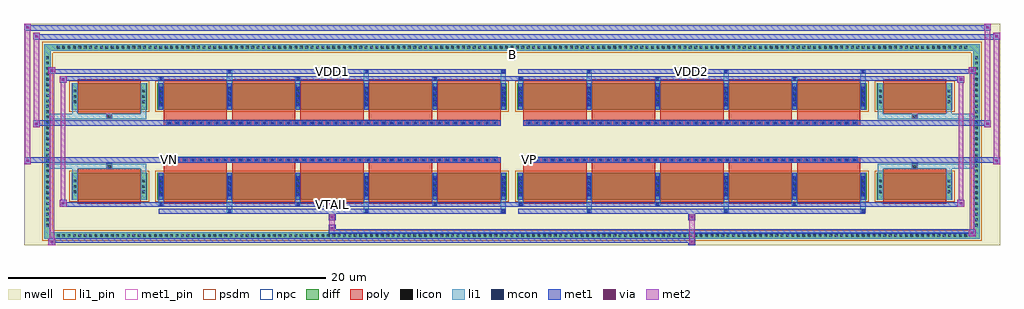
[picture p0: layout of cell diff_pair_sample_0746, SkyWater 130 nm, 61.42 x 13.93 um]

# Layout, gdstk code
import gdstk
lib = gdstk.Library(unit=1e-6, precision=5e-09)
def R(c, l, rs):  # rectangles x0, y0, x1, y1
    for r in rs: c.add(gdstk.rectangle(r[:2], r[2:], *l))
def A(c, l, x, y, w, h, nx, ny, dx, dy):  # array of equal rectangles
    R(c, l, [(x+i*dx, y+j*dy, x+i*dx+w, y+j*dy+h) for i in range(nx) for j in range(ny)])
def P(c, l, *ps):  # polygons
    for p in ps: c.add(gdstk.Polygon(p, *l))
nwell = (64, 20)
diff = (65, 20)
poly = (66, 20)
licon = (66, 44)
li1_pin = (67, 16)
li1 = (67, 20)
mcon = (67, 44)
met1_pin = (68, 16)
met1 = (68, 20)
via = (68, 44)
met2 = (69, 20)
psdm = (94, 20)
npc = (95, 20)

diff_pair_sample_0746 = lib.new_cell('diff_pair_sample_0746')
R(diff_pair_sample_0746, nwell, [(-30.71,-6.53,30.71,7.4), (-28.03,-4.72,-0.01,-0.8), (0.01,-4.72,28.03,-0.8), (-28.03,0.8,-0.01,4.72), (0.01,0.8,28.03,4.72)])
A(diff_pair_sample_0746, diff, -28.765, -6.13, 0.41, 0.41, 169, 2, 0.34, 11.85)
A(diff_pair_sample_0746, diff, -29.44, -5.475, 0.41, 0.41, 1, 32, 0, 0.34)
A(diff_pair_sample_0746, diff, 29.03, -5.475, 0.41, 0.41, 1, 32, 0, 0.34)
R(diff_pair_sample_0746, diff, [(-28.765,-6.13,28.765,-5.72), (-29.44,-5.475,-29.03,5.475), (29.03,-5.475,29.44,5.475), (-27.72,-3.675,-22.96,-1.985), (-22.32,-3.675,-0.32,-1.985), (0.32,-3.675,22.32,-1.985), (22.96,-3.675,27.72,-1.985), (-27.72,1.985,-22.96,3.675), (-22.32,1.985,-0.32,3.675), (0.32,1.985,22.32,3.675), (22.96,1.985,27.72,3.675), (-28.765,5.72,28.765,6.13)])
P(diff_pair_sample_0746, diff, [(29.44,6.13),(-29.44,6.13),(-29.44,-5.72),(-29.03,-5.72),(-29.03,5.72),(29.03,5.72),(29.03,-5.72),(-29.03,-5.72),(-29.44,-5.72),(-29.44,-6.13),(29.44,-6.13)])
A(diff_pair_sample_0746, poly, -21.93, -3.925, 3.98, 2.19, 5, 2, 4.31, 5.66)
A(diff_pair_sample_0746, poly, 0.71, -3.925, 3.98, 2.19, 5, 2, 4.31, 5.66)
A(diff_pair_sample_0746, poly, -21.93, -1.735, 3.98, 0.405, 5, 2, 4.31, 3.065)
A(diff_pair_sample_0746, poly, 0.71, -1.735, 3.98, 0.405, 5, 2, 4.31, 3.065)
A(diff_pair_sample_0746, poly, -21.735, -1.33, 0.33, 0.33, 42, 2, 0.5, 2.33)
A(diff_pair_sample_0746, poly, 0.905, -1.33, 0.33, 0.33, 42, 2, 0.5, 2.33)
R(diff_pair_sample_0746, poly, [(-27.33,-3.925,-23.35,-1.735), (23.35,-3.925,27.33,-1.735), (-25.505,-1.735,-25.175,-1.405), (-25.505,-1.735,-25.175,-1.405), (25.175,-1.735,25.505,-1.405), (25.175,-1.735,25.505,-1.405), (-21.93,-1.33,-0.71,-1), (0.71,-1.33,21.93,-1), (-21.93,1,-0.71,1.33), (0.71,1,21.93,1.33), (-25.505,1.405,-25.175,1.735), (-25.505,1.405,-25.175,1.735), (25.175,1.405,25.505,1.735), (25.175,1.405,25.505,1.735), (-27.33,1.735,-23.35,3.925), (23.35,1.735,27.33,3.925)])
A(diff_pair_sample_0746, licon, -28.645, -6.01, 0.17, 0.17, 169, 2, 0.34, 11.85)
A(diff_pair_sample_0746, licon, -29.32, -5.355, 0.17, 0.17, 1, 32, 0, 0.34)
A(diff_pair_sample_0746, licon, 29.15, -5.355, 0.17, 0.17, 1, 32, 0, 0.34)
A(diff_pair_sample_0746, licon, -27.58, -3.255, 0.17, 0.17, 1, 3, 0, 0.34)
A(diff_pair_sample_0746, licon, -23.27, -3.255, 0.17, 0.17, 1, 3, 0, 0.34)
A(diff_pair_sample_0746, licon, -22.18, -3.255, 0.17, 0.17, 6, 3, 4.31, 0.34)
A(diff_pair_sample_0746, licon, 0.46, -3.255, 0.17, 0.17, 6, 3, 4.31, 0.34)
A(diff_pair_sample_0746, licon, 23.1, -3.255, 0.17, 0.17, 1, 3, 0, 0.34)
A(diff_pair_sample_0746, licon, 27.41, -3.255, 0.17, 0.17, 1, 3, 0, 0.34)
A(diff_pair_sample_0746, licon, -21.655, -1.25, 0.17, 0.17, 42, 2, 0.5, 2.33)
A(diff_pair_sample_0746, licon, 0.985, -1.25, 0.17, 0.17, 42, 2, 0.5, 2.33)
A(diff_pair_sample_0746, licon, -27.58, 2.405, 0.17, 0.17, 1, 3, 0, 0.34)
A(diff_pair_sample_0746, licon, -23.27, 2.405, 0.17, 0.17, 1, 3, 0, 0.34)
A(diff_pair_sample_0746, licon, -22.18, 2.405, 0.17, 0.17, 6, 3, 4.31, 0.34)
A(diff_pair_sample_0746, licon, 0.46, 2.405, 0.17, 0.17, 6, 3, 4.31, 0.34)
A(diff_pair_sample_0746, licon, 23.1, 2.405, 0.17, 0.17, 1, 3, 0, 0.34)
A(diff_pair_sample_0746, licon, 27.41, 2.405, 0.17, 0.17, 1, 3, 0, 0.34)
R(diff_pair_sample_0746, licon, [(-25.425,-1.655,-25.255,-1.485), (25.255,-1.655,25.425,-1.485), (-25.425,1.485,-25.255,1.655), (25.255,1.485,25.425,1.655)])
R(diff_pair_sample_0746, li1_pin, [(-0.25,5.22,0.25,5.72)])
A(diff_pair_sample_0746, li1, -28.725, -6.09, 0.33, 0.33, 169, 2, 0.34, 11.85)
A(diff_pair_sample_0746, li1, -29.4, -5.435, 0.33, 0.33, 1, 32, 0, 0.34)
A(diff_pair_sample_0746, li1, 29.07, -5.435, 0.33, 0.33, 1, 32, 0, 0.34)
A(diff_pair_sample_0746, li1, -17.95, -4.48, 0.33, 0.805, 3, 2, 8.62, 8.155)
A(diff_pair_sample_0746, li1, -17.87, -4.48, 0.17, 0.17, 3, 2, 8.62, 8.79)
A(diff_pair_sample_0746, li1, 4.69, -4.48, 0.33, 0.805, 3, 2, 8.62, 8.155)
A(diff_pair_sample_0746, li1, 4.77, -4.48, 0.17, 0.17, 3, 2, 8.62, 8.79)
A(diff_pair_sample_0746, li1, -22.26, -4.05, 0.33, 0.375, 3, 2, 8.62, 7.725)
A(diff_pair_sample_0746, li1, -22.18, -4.05, 0.17, 0.17, 3, 2, 8.62, 7.93)
A(diff_pair_sample_0746, li1, 0.38, -4.05, 0.33, 0.375, 3, 2, 8.62, 7.725)
A(diff_pair_sample_0746, li1, 0.46, -4.05, 0.17, 0.17, 3, 2, 8.62, 7.93)
A(diff_pair_sample_0746, li1, -22.26, -3.675, 0.33, 1.69, 6, 2, 4.31, 5.66)
A(diff_pair_sample_0746, li1, 0.38, -3.675, 0.33, 1.69, 6, 2, 4.31, 5.66)
A(diff_pair_sample_0746, li1, -22.18, -3.455, 0.17, 0.17, 6, 4, 4.31, 0.36)
A(diff_pair_sample_0746, li1, -22.18, -3.455, 0.17, 1.25, 6, 2, 4.31, 5.66)
A(diff_pair_sample_0746, li1, 0.46, -3.455, 0.17, 0.17, 6, 4, 4.31, 0.36)
A(diff_pair_sample_0746, li1, 0.46, -3.455, 0.17, 1.25, 6, 2, 4.31, 5.66)
A(diff_pair_sample_0746, li1, -27.66, -3.335, 0.33, 0.33, 1, 3, 0, 0.34)
A(diff_pair_sample_0746, li1, -23.35, -3.335, 0.33, 0.33, 1, 3, 0, 0.34)
A(diff_pair_sample_0746, li1, -22.26, -3.335, 0.33, 0.33, 6, 3, 4.31, 0.34)
A(diff_pair_sample_0746, li1, 0.38, -3.335, 0.33, 0.33, 6, 3, 4.31, 0.34)
A(diff_pair_sample_0746, li1, 23.02, -3.335, 0.33, 0.33, 1, 3, 0, 0.34)
A(diff_pair_sample_0746, li1, 27.33, -3.335, 0.33, 0.33, 1, 3, 0, 0.34)
A(diff_pair_sample_0746, li1, -21.735, -1.33, 0.33, 0.33, 42, 2, 0.5, 2.33)
A(diff_pair_sample_0746, li1, 0.905, -1.33, 0.33, 0.33, 42, 2, 0.5, 2.33)
A(diff_pair_sample_0746, li1, -22.18, 2.205, 0.17, 0.17, 6, 4, 4.31, 0.36)
A(diff_pair_sample_0746, li1, 0.46, 2.205, 0.17, 0.17, 6, 4, 4.31, 0.36)
A(diff_pair_sample_0746, li1, -27.66, 2.325, 0.33, 0.33, 1, 3, 0, 0.34)
A(diff_pair_sample_0746, li1, -23.35, 2.325, 0.33, 0.33, 1, 3, 0, 0.34)
A(diff_pair_sample_0746, li1, -22.26, 2.325, 0.33, 0.33, 6, 3, 4.31, 0.34)
A(diff_pair_sample_0746, li1, 0.38, 2.325, 0.33, 0.33, 6, 3, 4.31, 0.34)
A(diff_pair_sample_0746, li1, 23.02, 2.325, 0.33, 0.33, 1, 3, 0, 0.34)
A(diff_pair_sample_0746, li1, 27.33, 2.325, 0.33, 0.33, 1, 3, 0, 0.34)
R(diff_pair_sample_0746, li1, [(-29.44,-6.13,-29.03,-5.72), (-29.44,-6.13,-29.03,-5.72), (-29.03,-6.13,29.03,-5.72), (29.03,-6.13,29.44,-5.72), (29.03,-6.13,29.44,-5.72), (-29.44,-5.72,-29.03,5.72), (29.03,-5.72,29.44,5.72), (-27.66,-3.675,-27.33,-1.985), (-23.35,-3.675,-23.02,-1.985), (23.02,-3.675,23.35,-1.985), (27.33,-3.675,27.66,-1.985), (-27.66,-1.985,-27.33,-1.405), (-23.35,-1.985,-23.02,-1.405), (23.02,-1.985,23.35,-1.405), (27.33,-1.985,27.66,-1.405), (-29.44,-1.735,-25.505,-1.405), (-27.66,-1.735,-25.505,-1.405), (-25.505,-1.735,-25.175,-1.405), (-25.175,-1.735,-23.02,-1.405), (23.02,-1.735,25.175,-1.405), (25.175,-1.735,25.505,-1.405), (25.175,-1.735,29.44,-1.405), (25.505,-1.735,27.66,-1.405), (-29.44,1.405,-25.505,1.735), (-27.66,1.405,-25.505,1.735), (-27.66,1.405,-27.33,1.985), (-25.505,1.405,-25.175,1.735), (-25.175,1.405,-23.02,1.735), (-23.35,1.405,-23.02,1.985), (23.02,1.405,25.175,1.735), (23.02,1.405,23.35,1.985), (25.175,1.405,25.505,1.735), (25.175,1.405,29.44,1.735), (25.505,1.405,27.66,1.735), (27.33,1.405,27.66,1.985), (-27.66,1.985,-27.33,3.675), (-23.35,1.985,-23.02,3.675), (23.02,1.985,23.35,3.675), (27.33,1.985,27.66,3.675), (-29.44,5.72,-29.03,6.13), (-29.44,5.72,-29.03,6.13), (-29.03,5.72,29.03,6.13), (29.03,5.72,29.44,6.13), (29.03,5.72,29.44,6.13)])
A(diff_pair_sample_0746, mcon, -17.87, -4.48, 0.17, 0.17, 3, 2, 8.62, 8.79)
A(diff_pair_sample_0746, mcon, 4.77, -4.48, 0.17, 0.17, 3, 2, 8.62, 8.79)
A(diff_pair_sample_0746, mcon, -22.18, -4.05, 0.17, 0.17, 3, 2, 8.62, 7.93)
A(diff_pair_sample_0746, mcon, 0.46, -4.05, 0.17, 0.17, 3, 2, 8.62, 7.93)
A(diff_pair_sample_0746, mcon, -22.18, -3.455, 0.17, 0.17, 6, 4, 4.31, 0.36)
A(diff_pair_sample_0746, mcon, 0.46, -3.455, 0.17, 0.17, 6, 4, 4.31, 0.36)
A(diff_pair_sample_0746, mcon, -21.655, -1.25, 0.17, 0.17, 42, 2, 0.5, 2.33)
A(diff_pair_sample_0746, mcon, 0.985, -1.25, 0.17, 0.17, 42, 2, 0.5, 2.33)
A(diff_pair_sample_0746, mcon, -22.18, 2.205, 0.17, 0.17, 6, 4, 4.31, 0.36)
A(diff_pair_sample_0746, mcon, 0.46, 2.205, 0.17, 0.17, 6, 4, 4.31, 0.36)
R(diff_pair_sample_0746, met1_pin, [(-11.455,-4.09,-11.185,-3.82), (-21.705,-1.29,-21.435,-1.02), (0.935,-1.29,1.205,-1.02), (-11.455,4.27,-11.185,4.54), (11.185,4.27,11.455,4.54)])
A(diff_pair_sample_0746, met1, -17.93, -4.54, 0.29, 0.29, 3, 2, 8.62, 8.79)
A(diff_pair_sample_0746, met1, 4.71, -4.54, 0.29, 0.29, 3, 2, 8.62, 8.79)
A(diff_pair_sample_0746, met1, -22.24, -4.11, 0.29, 0.29, 3, 2, 8.62, 7.93)
A(diff_pair_sample_0746, met1, 0.4, -4.11, 0.29, 0.29, 3, 2, 8.62, 7.93)
A(diff_pair_sample_0746, met1, -22.24, -3.675, 0.29, 1.69, 6, 2, 4.31, 5.66)
A(diff_pair_sample_0746, met1, 0.4, -3.675, 0.29, 1.69, 6, 2, 4.31, 5.66)
A(diff_pair_sample_0746, met1, -22.24, -3.515, 0.29, 0.29, 6, 4, 4.31, 0.36)
A(diff_pair_sample_0746, met1, 0.4, -3.515, 0.29, 0.29, 6, 4, 4.31, 0.36)
A(diff_pair_sample_0746, met1, -21.715, -1.31, 0.29, 0.29, 42, 2, 0.5, 2.33)
A(diff_pair_sample_0746, met1, 0.925, -1.31, 0.29, 0.29, 42, 2, 0.5, 2.33)
A(diff_pair_sample_0746, met1, -22.24, 2.145, 0.29, 0.29, 6, 4, 4.31, 0.36)
A(diff_pair_sample_0746, met1, 0.4, 2.145, 0.29, 0.29, 6, 4, 4.31, 0.36)
R(diff_pair_sample_0746, met1, [(-29.17,-6.53,-28.74,-6.1), (11.105,-6.53,11.535,-6.1), (-29.17,-6.39,11.535,-6.1), (28.74,-5.96,29.17,-5.53), (-11.535,-5.82,29.17,-5.53), (-11.535,-5.68,-11.105,-5.25), (-11.535,-4.97,-11.105,-4.54), (11.105,-4.97,11.535,-4.54), (-22.24,-4.54,-0.4,-4.25), (0.4,-4.54,22.24,-4.25), (-28.46,-4.11,-28.03,-3.68), (-28.46,-4.11,-22.24,-3.82), (-22.24,-4.11,-0.4,-3.82), (-0.4,-4.11,0.4,-3.82), (0.4,-4.11,22.24,-3.82), (22.24,-4.11,28.46,-3.82), (28.03,-4.11,28.46,-3.68), (-30.71,-1.43,-30.28,-1), (30.28,-1.43,30.71,-1), (-30.71,-1.33,-0.71,-1), (-21.93,-1.33,-0.71,-1), (0.71,-1.33,21.93,-1), (0.71,-1.33,30.71,-1), (-30.14,0.9,-29.71,1.33), (29.71,0.9,30.14,1.33), (-30.14,1,-21.93,1.33), (-21.93,1,-0.71,1.33), (0.71,1,21.93,1.33), (21.93,1,30.14,1.33), (-28.46,3.68,-28.03,4.11), (28.03,3.68,28.46,4.11), (-28.46,3.82,-22.24,4.11), (-22.24,3.82,-0.4,4.11), (-0.4,3.82,0.4,4.11), (0.4,3.82,22.24,4.11), (22.24,3.82,28.46,4.11), (-29.17,4.25,-28.74,4.68), (-29.17,4.25,-22.24,4.54), (-22.24,4.25,-0.4,4.54), (0.4,4.25,22.24,4.54), (22.24,4.25,29.17,4.54), (28.74,4.25,29.17,4.68), (-30.14,6.4,-29.71,6.83), (-30.14,6.4,-28.03,6.73), (-28.03,6.4,28.03,6.73), (28.03,6.4,30.71,6.73), (30.28,6.4,30.71,6.83), (-30.71,6.97,-30.28,7.4), (-30.71,6.97,-28.03,7.3), (-28.03,6.97,28.03,7.3), (28.03,6.97,30.14,7.3), (29.71,6.97,30.14,7.4)])
R(diff_pair_sample_0746, via, [(-29.03,-6.39,-28.88,-6.24), (11.245,-6.39,11.395,-6.24), (28.88,-5.82,29.03,-5.67), (-11.395,-5.54,-11.245,-5.39), (-11.395,-4.83,-11.245,-4.68), (11.245,-4.83,11.395,-4.68), (-28.32,-3.97,-28.17,-3.82), (28.17,-3.97,28.32,-3.82), (-30.57,-1.29,-30.42,-1.14), (30.42,-1.29,30.57,-1.14), (-30,1.04,-29.85,1.19), (29.85,1.04,30,1.19), (-28.32,3.82,-28.17,3.97), (28.17,3.82,28.32,3.97), (-29.03,4.39,-28.88,4.54), (28.88,4.39,29.03,4.54), (-30,6.54,-29.85,6.69), (30.42,6.54,30.57,6.69), (-30.57,7.11,-30.42,7.26), (29.85,7.11,30,7.26)])
R(diff_pair_sample_0746, met2, [(-29.17,-6.53,-28.74,-6.1), (-29.1,-6.53,-28.81,4.68), (-28.81,-6.53,-28.74,-6.1), (-29.12,-6.48,-28.79,-6.15), (11.155,-6.48,11.485,-6.15), (11.155,-6.15,11.485,-4.92), (28.74,-5.96,29.17,-5.53), (28.81,-5.96,29.1,4.68), (29.1,-5.96,29.17,-5.53), (28.79,-5.91,29.12,-5.58), (-11.485,-5.63,-11.155,-5.3), (-11.485,-5.3,-11.155,-4.92), (-11.485,-4.92,-11.155,-4.59), (11.155,-4.92,11.485,-4.59), (-28.46,-4.11,-28.03,-3.68), (-28.39,-4.11,-28.1,4.11), (-28.1,-4.11,-28.03,-3.68), (28.03,-4.11,28.46,-3.68), (28.1,-4.11,28.39,4.11), (28.39,-4.11,28.46,-3.68), (-28.41,-4.06,-28.08,-3.73), (28.08,-4.06,28.41,-3.73), (-30.71,-1.43,-30.28,-1), (-30.66,-1.43,-30.33,7.4), (-30.33,-1.43,-30.28,-1), (30.28,-1.43,30.71,-1), (30.33,-1.43,30.66,6.83), (30.66,-1.43,30.71,-1), (-30.66,-1.38,-30.33,-1.05), (30.33,-1.38,30.66,-1.05), (-30.14,0.9,-29.71,1.33), (-30.09,0.9,-29.76,6.83), (-29.76,0.9,-29.71,1.33), (29.71,0.9,30.14,1.33), (29.76,0.9,30.09,7.4), (30.09,0.9,30.14,1.33), (-30.09,0.95,-29.76,1.28), (29.76,0.95,30.09,1.28), (-28.46,3.68,-28.03,4.11), (-28.1,3.68,-28.03,4.11), (28.03,3.68,28.46,4.11), (28.39,3.68,28.46,4.11), (-28.41,3.73,-28.08,4.06), (28.08,3.73,28.41,4.06), (-29.17,4.25,-28.74,4.68), (-28.81,4.25,-28.74,4.68), (28.74,4.25,29.17,4.68), (29.1,4.25,29.17,4.68), (-29.12,4.3,-28.79,4.63), (28.79,4.3,29.12,4.63), (-30.14,6.4,-29.71,6.83), (-29.76,6.4,-29.71,6.83), (30.28,6.4,30.71,6.83), (30.66,6.4,30.71,6.83), (-30.09,6.45,-29.76,6.78), (30.33,6.45,30.66,6.78), (-30.71,6.97,-30.28,7.4), (-30.33,6.97,-30.28,7.4), (29.71,6.97,30.14,7.4), (30.09,6.97,30.14,7.4), (-30.66,7.02,-30.33,7.35), (29.76,7.02,30.09,7.35)])
R(diff_pair_sample_0746, psdm, [(-27.85,-3.805,-22.83,-1.855), (-22.45,-3.805,-0.19,-1.855), (0.19,-3.805,22.45,-1.855), (22.83,-3.805,27.85,-1.855), (-27.85,1.855,-22.83,3.805), (-22.45,1.855,-0.19,3.805), (0.19,1.855,22.45,3.805), (22.83,1.855,27.85,3.805)])
P(diff_pair_sample_0746, psdm, [(29.57,6.26),(-29.57,6.26),(-29.57,-5.59),(-28.9,-5.59),(-28.9,5.59),(28.9,5.59),(28.9,-5.59),(-28.9,-5.59),(-29.57,-5.59),(-29.57,-6.26),(29.57,-6.26)])
A(diff_pair_sample_0746, npc, -21.755, -1.35, 0.37, 0.37, 42, 2, 0.5, 2.33)
A(diff_pair_sample_0746, npc, 0.885, -1.35, 0.37, 0.37, 42, 2, 0.5, 2.33)
R(diff_pair_sample_0746, npc, [(-25.525,-1.755,-25.155,-1.385), (25.155,-1.755,25.525,-1.385), (-21.755,-1.35,-20.885,-0.98), (-21.755,-1.35,-20.885,-0.98), (-21.255,-1.35,-20.385,-0.98), (-21.255,-1.35,-20.385,-0.98), (-20.755,-1.35,-19.885,-0.98), (-20.755,-1.35,-19.885,-0.98), (-20.255,-1.35,-19.385,-0.98), (-20.255,-1.35,-19.385,-0.98), (-19.755,-1.35,-18.885,-0.98), (-19.755,-1.35,-18.885,-0.98), (-19.255,-1.35,-18.385,-0.98), (-19.255,-1.35,-18.385,-0.98), (-18.755,-1.35,-17.885,-0.98), (-18.755,-1.35,-17.885,-0.98), (-18.255,-1.35,-17.385,-0.98), (-18.255,-1.35,-17.385,-0.98), (-17.755,-1.35,-16.885,-0.98), (-17.755,-1.35,-16.885,-0.98), (-17.255,-1.35,-16.385,-0.98), (-17.255,-1.35,-16.385,-0.98), (-16.755,-1.35,-15.885,-0.98), (-16.755,-1.35,-15.885,-0.98), (-16.255,-1.35,-15.385,-0.98), (-16.255,-1.35,-15.385,-0.98), (-15.755,-1.35,-14.885,-0.98), (-15.755,-1.35,-14.885,-0.98), (-15.255,-1.35,-14.385,-0.98), (-15.255,-1.35,-14.385,-0.98), (-14.755,-1.35,-13.885,-0.98), (-14.755,-1.35,-13.885,-0.98), (-14.255,-1.35,-13.385,-0.98), (-14.255,-1.35,-13.385,-0.98), (-13.755,-1.35,-12.885,-0.98), (-13.755,-1.35,-12.885,-0.98), (-13.255,-1.35,-12.385,-0.98), (-13.255,-1.35,-12.385,-0.98), (-12.755,-1.35,-11.885,-0.98), (-12.755,-1.35,-11.885,-0.98), (-12.255,-1.35,-11.385,-0.98), (-12.255,-1.35,-11.385,-0.98), (-11.755,-1.35,-10.885,-0.98), (-11.755,-1.35,-10.885,-0.98), (-11.255,-1.35,-10.385,-0.98), (-11.255,-1.35,-10.385,-0.98), (-10.755,-1.35,-9.885,-0.98), (-10.755,-1.35,-9.885,-0.98), (-10.255,-1.35,-9.385,-0.98), (-10.255,-1.35,-9.385,-0.98), (-9.755,-1.35,-8.885,-0.98), (-9.755,-1.35,-8.885,-0.98), (-9.255,-1.35,-8.385,-0.98), (-9.255,-1.35,-8.385,-0.98), (-8.755,-1.35,-7.885,-0.98), (-8.755,-1.35,-7.885,-0.98), (-8.255,-1.35,-7.385,-0.98), (-8.255,-1.35,-7.385,-0.98), (-7.755,-1.35,-6.885,-0.98), (-7.755,-1.35,-6.885,-0.98), (-7.255,-1.35,-6.385,-0.98), (-7.255,-1.35,-6.385,-0.98), (-6.755,-1.35,-5.885,-0.98), (-6.755,-1.35,-5.885,-0.98), (-6.255,-1.35,-5.385,-0.98), (-6.255,-1.35,-5.385,-0.98), (-5.755,-1.35,-4.885,-0.98), (-5.755,-1.35,-4.885,-0.98), (-5.255,-1.35,-4.385,-0.98), (-5.255,-1.35,-4.385,-0.98), (-4.755,-1.35,-3.885,-0.98), (-4.755,-1.35,-3.885,-0.98), (-4.255,-1.35,-3.385,-0.98), (-4.255,-1.35,-3.385,-0.98), (-3.755,-1.35,-2.885,-0.98), (-3.755,-1.35,-2.885,-0.98), (-3.255,-1.35,-2.385,-0.98), (-3.255,-1.35,-2.385,-0.98), (-2.755,-1.35,-1.885,-0.98), (-2.755,-1.35,-1.885,-0.98), (-2.255,-1.35,-1.385,-0.98), (-2.255,-1.35,-1.385,-0.98), (-1.755,-1.35,-0.885,-0.98), (-1.755,-1.35,-0.885,-0.98), (0.885,-1.35,1.755,-0.98), (0.885,-1.35,1.755,-0.98), (1.385,-1.35,2.255,-0.98), (1.385,-1.35,2.255,-0.98), (1.885,-1.35,2.755,-0.98), (1.885,-1.35,2.755,-0.98), (2.385,-1.35,3.255,-0.98), (2.385,-1.35,3.255,-0.98), (2.885,-1.35,3.755,-0.98), (2.885,-1.35,3.755,-0.98), (3.385,-1.35,4.255,-0.98), (3.385,-1.35,4.255,-0.98), (3.885,-1.35,4.755,-0.98), (3.885,-1.35,4.755,-0.98), (4.385,-1.35,5.255,-0.98), (4.385,-1.35,5.255,-0.98), (4.885,-1.35,5.755,-0.98), (4.885,-1.35,5.755,-0.98), (5.385,-1.35,6.255,-0.98), (5.385,-1.35,6.255,-0.98), (5.885,-1.35,6.755,-0.98), (5.885,-1.35,6.755,-0.98), (6.385,-1.35,7.255,-0.98), (6.385,-1.35,7.255,-0.98), (6.885,-1.35,7.755,-0.98), (6.885,-1.35,7.755,-0.98), (7.385,-1.35,8.255,-0.98), (7.385,-1.35,8.255,-0.98), (7.885,-1.35,8.755,-0.98), (7.885,-1.35,8.755,-0.98), (8.385,-1.35,9.255,-0.98), (8.385,-1.35,9.255,-0.98), (8.885,-1.35,9.755,-0.98), (8.885,-1.35,9.755,-0.98), (9.385,-1.35,10.255,-0.98), (9.385,-1.35,10.255,-0.98), (9.885,-1.35,10.755,-0.98), (9.885,-1.35,10.755,-0.98), (10.385,-1.35,11.255,-0.98), (10.385,-1.35,11.255,-0.98), (10.885,-1.35,11.755,-0.98), (10.885,-1.35,11.755,-0.98), (11.385,-1.35,12.255,-0.98), (11.385,-1.35,12.255,-0.98), (11.885,-1.35,12.755,-0.98), (11.885,-1.35,12.755,-0.98), (12.385,-1.35,13.255,-0.98), (12.385,-1.35,13.255,-0.98), (12.885,-1.35,13.755,-0.98), (12.885,-1.35,13.755,-0.98), (13.385,-1.35,14.255,-0.98), (13.385,-1.35,14.255,-0.98), (13.885,-1.35,14.755,-0.98), (13.885,-1.35,14.755,-0.98), (14.385,-1.35,15.255,-0.98), (14.385,-1.35,15.255,-0.98), (14.885,-1.35,15.755,-0.98), (14.885,-1.35,15.755,-0.98), (15.385,-1.35,16.255,-0.98), (15.385,-1.35,16.255,-0.98), (15.885,-1.35,16.755,-0.98), (15.885,-1.35,16.755,-0.98), (16.385,-1.35,17.255,-0.98), (16.385,-1.35,17.255,-0.98), (16.885,-1.35,17.755,-0.98), (16.885,-1.35,17.755,-0.98), (17.385,-1.35,18.255,-0.98), (17.385,-1.35,18.255,-0.98), (17.885,-1.35,18.755,-0.98), (17.885,-1.35,18.755,-0.98), (18.385,-1.35,19.255,-0.98), (18.385,-1.35,19.255,-0.98), (18.885,-1.35,19.755,-0.98), (18.885,-1.35,19.755,-0.98), (19.385,-1.35,20.255,-0.98), (19.385,-1.35,20.255,-0.98), (19.885,-1.35,20.755,-0.98), (19.885,-1.35,20.755,-0.98), (20.385,-1.35,21.255,-0.98), (20.385,-1.35,21.255,-0.98), (20.885,-1.35,21.755,-0.98), (20.885,-1.35,21.755,-0.98), (-21.755,0.98,-20.885,1.35), (-21.755,0.98,-20.885,1.35), (-21.255,0.98,-20.385,1.35), (-21.255,0.98,-20.385,1.35), (-20.755,0.98,-19.885,1.35), (-20.755,0.98,-19.885,1.35), (-20.255,0.98,-19.385,1.35), (-20.255,0.98,-19.385,1.35), (-19.755,0.98,-18.885,1.35), (-19.755,0.98,-18.885,1.35), (-19.255,0.98,-18.385,1.35), (-19.255,0.98,-18.385,1.35), (-18.755,0.98,-17.885,1.35), (-18.755,0.98,-17.885,1.35), (-18.255,0.98,-17.385,1.35), (-18.255,0.98,-17.385,1.35), (-17.755,0.98,-16.885,1.35), (-17.755,0.98,-16.885,1.35), (-17.255,0.98,-16.385,1.35), (-17.255,0.98,-16.385,1.35), (-16.755,0.98,-15.885,1.35), (-16.755,0.98,-15.885,1.35), (-16.255,0.98,-15.385,1.35), (-16.255,0.98,-15.385,1.35), (-15.755,0.98,-14.885,1.35), (-15.755,0.98,-14.885,1.35), (-15.255,0.98,-14.385,1.35), (-15.255,0.98,-14.385,1.35), (-14.755,0.98,-13.885,1.35), (-14.755,0.98,-13.885,1.35), (-14.255,0.98,-13.385,1.35), (-14.255,0.98,-13.385,1.35), (-13.755,0.98,-12.885,1.35), (-13.755,0.98,-12.885,1.35), (-13.255,0.98,-12.385,1.35), (-13.255,0.98,-12.385,1.35), (-12.755,0.98,-11.885,1.35), (-12.755,0.98,-11.885,1.35), (-12.255,0.98,-11.385,1.35), (-12.255,0.98,-11.385,1.35), (-11.755,0.98,-10.885,1.35), (-11.755,0.98,-10.885,1.35), (-11.255,0.98,-10.385,1.35), (-11.255,0.98,-10.385,1.35), (-10.755,0.98,-9.885,1.35), (-10.755,0.98,-9.885,1.35), (-10.255,0.98,-9.385,1.35), (-10.255,0.98,-9.385,1.35), (-9.755,0.98,-8.885,1.35), (-9.755,0.98,-8.885,1.35), (-9.255,0.98,-8.385,1.35), (-9.255,0.98,-8.385,1.35), (-8.755,0.98,-7.885,1.35), (-8.755,0.98,-7.885,1.35), (-8.255,0.98,-7.385,1.35), (-8.255,0.98,-7.385,1.35), (-7.755,0.98,-6.885,1.35), (-7.755,0.98,-6.885,1.35), (-7.255,0.98,-6.385,1.35), (-7.255,0.98,-6.385,1.35), (-6.755,0.98,-5.885,1.35), (-6.755,0.98,-5.885,1.35), (-6.255,0.98,-5.385,1.35), (-6.255,0.98,-5.385,1.35), (-5.755,0.98,-4.885,1.35), (-5.755,0.98,-4.885,1.35), (-5.255,0.98,-4.385,1.35), (-5.255,0.98,-4.385,1.35), (-4.755,0.98,-3.885,1.35), (-4.755,0.98,-3.885,1.35), (-4.255,0.98,-3.385,1.35), (-4.255,0.98,-3.385,1.35), (-3.755,0.98,-2.885,1.35), (-3.755,0.98,-2.885,1.35), (-3.255,0.98,-2.385,1.35), (-3.255,0.98,-2.385,1.35), (-2.755,0.98,-1.885,1.35), (-2.755,0.98,-1.885,1.35), (-2.255,0.98,-1.385,1.35), (-2.255,0.98,-1.385,1.35), (-1.755,0.98,-0.885,1.35), (-1.755,0.98,-0.885,1.35), (0.885,0.98,1.755,1.35), (0.885,0.98,1.755,1.35), (1.385,0.98,2.255,1.35), (1.385,0.98,2.255,1.35), (1.885,0.98,2.755,1.35), (1.885,0.98,2.755,1.35), (2.385,0.98,3.255,1.35), (2.385,0.98,3.255,1.35), (2.885,0.98,3.755,1.35), (2.885,0.98,3.755,1.35), (3.385,0.98,4.255,1.35), (3.385,0.98,4.255,1.35), (3.885,0.98,4.755,1.35), (3.885,0.98,4.755,1.35), (4.385,0.98,5.255,1.35), (4.385,0.98,5.255,1.35), (4.885,0.98,5.755,1.35), (4.885,0.98,5.755,1.35), (5.385,0.98,6.255,1.35), (5.385,0.98,6.255,1.35), (5.885,0.98,6.755,1.35), (5.885,0.98,6.755,1.35), (6.385,0.98,7.255,1.35), (6.385,0.98,7.255,1.35), (6.885,0.98,7.755,1.35), (6.885,0.98,7.755,1.35), (7.385,0.98,8.255,1.35), (7.385,0.98,8.255,1.35), (7.885,0.98,8.755,1.35), (7.885,0.98,8.755,1.35), (8.385,0.98,9.255,1.35), (8.385,0.98,9.255,1.35), (8.885,0.98,9.755,1.35), (8.885,0.98,9.755,1.35), (9.385,0.98,10.255,1.35), (9.385,0.98,10.255,1.35), (9.885,0.98,10.755,1.35), (9.885,0.98,10.755,1.35), (10.385,0.98,11.255,1.35), (10.385,0.98,11.255,1.35), (10.885,0.98,11.755,1.35), (10.885,0.98,11.755,1.35), (11.385,0.98,12.255,1.35), (11.385,0.98,12.255,1.35), (11.885,0.98,12.755,1.35), (11.885,0.98,12.755,1.35), (12.385,0.98,13.255,1.35), (12.385,0.98,13.255,1.35), (12.885,0.98,13.755,1.35), (12.885,0.98,13.755,1.35), (13.385,0.98,14.255,1.35), (13.385,0.98,14.255,1.35), (13.885,0.98,14.755,1.35), (13.885,0.98,14.755,1.35), (14.385,0.98,15.255,1.35), (14.385,0.98,15.255,1.35), (14.885,0.98,15.755,1.35), (14.885,0.98,15.755,1.35), (15.385,0.98,16.255,1.35), (15.385,0.98,16.255,1.35), (15.885,0.98,16.755,1.35), (15.885,0.98,16.755,1.35), (16.385,0.98,17.255,1.35), (16.385,0.98,17.255,1.35), (16.885,0.98,17.755,1.35), (16.885,0.98,17.755,1.35), (17.385,0.98,18.255,1.35), (17.385,0.98,18.255,1.35), (17.885,0.98,18.755,1.35), (17.885,0.98,18.755,1.35), (18.385,0.98,19.255,1.35), (18.385,0.98,19.255,1.35), (18.885,0.98,19.755,1.35), (18.885,0.98,19.755,1.35), (19.385,0.98,20.255,1.35), (19.385,0.98,20.255,1.35), (19.885,0.98,20.755,1.35), (19.885,0.98,20.755,1.35), (20.385,0.98,21.255,1.35), (20.385,0.98,21.255,1.35), (20.885,0.98,21.755,1.35), (20.885,0.98,21.755,1.35), (-25.525,1.385,-25.155,1.755), (25.155,1.385,25.525,1.755)])
diff_pair_sample_0746.add(gdstk.Label('VTAIL', (-11.32,-3.955), layer=68, texttype=5))
diff_pair_sample_0746.add(gdstk.Label('VN', (-21.57,-1.155), layer=68, texttype=5))
diff_pair_sample_0746.add(gdstk.Label('VP', (1.07,-1.155), layer=68, texttype=5))
diff_pair_sample_0746.add(gdstk.Label('B', (0,5.47), layer=67, texttype=5))
diff_pair_sample_0746.add(gdstk.Label('VDD2', (11.32,4.405), layer=68, texttype=5))
diff_pair_sample_0746.add(gdstk.Label('VDD1', (-11.32,4.405), layer=68, texttype=5))

lib.write_gds('diff_pair_sample_0746.gds')
